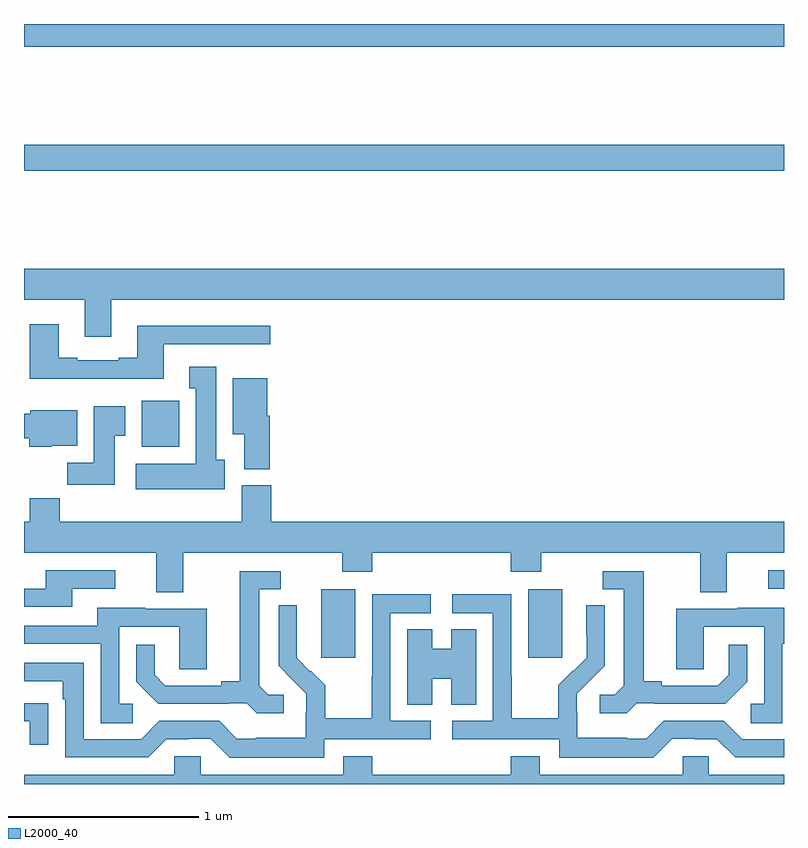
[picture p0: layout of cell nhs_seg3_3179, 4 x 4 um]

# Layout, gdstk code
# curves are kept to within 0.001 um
import gdstk
lib = gdstk.Library(unit=1e-6, precision=1e-09)
def R(c, l, rs):  # rectangles x0, y0, x1, y1
    for r in rs: c.add(gdstk.rectangle(r[:2], r[2:], *l))
def P(c, l, *ps):  # polygons
    for p in ps: c.add(gdstk.Polygon(p, *l))
L2000_40 = (2000, 40)

nhs_seg3_3179 = lib.new_cell('nhs_seg3_3179')
R(nhs_seg3_3179, L2000_40, [(278.564,667.065,278.743,667.426), (279.653,667.065,279.832,667.426), (280.917,667.428,281,667.524), (277.619,668.174,277.816,668.416), (277,669.628,281,669.764), (277,670.28,281,670.4)])
P(nhs_seg3_3179, L2000_40, [(277.459,668.948),(281,668.948),(281,669.112),(277,669.112),(277,668.948),(277.319,668.948),(277.319,668.754),(277.459,668.754)],
  [(277.735,668.715),(278.296,668.715),(278.296,668.812),(277.595,668.812),(277.595,668.644),(277.499,668.644),(277.499,668.631),(277.279,668.631),(277.279,668.644),(277.183,668.644),(277.183,668.821),(277.031,668.821),(277.031,668.534),(277.735,668.534)],
  [(278.056,668.106),(278.011,668.106),(278.011,668.596),(277.871,668.596),(277.871,668.483),(277.904,668.483),(277.904,668.086),(277.587,668.086),(277.587,667.952),(278.056,667.952)],
  [(278.294,668.339),(278.281,668.339),(278.281,668.536),(278.099,668.536),(278.099,668.24),(278.159,668.24),(278.159,668.057),(278.294,668.057)],
  [(277.477,668.233),(277.534,668.233),(277.534,668.389),(277.367,668.389),(277.367,668.092),(277.228,668.092),(277.228,667.974),(277.477,667.974)],
  [(277.146,668.18),(277.279,668.18),(277.279,668.368),(277.032,668.368),(277.032,668.35),(277,668.35),(277,668.221),(277.028,668.221),(277.028,668.174),(277.146,668.174)],
  [(277.031,667.904),(277.031,667.78),(277,667.78),(277,667.616),(277.697,667.616),(277.697,667.408),(277.837,667.408),(277.837,667.616),(278.674,667.616),(278.674,667.517),(278.834,667.517),(278.834,667.616),(279.563,667.616),(279.563,667.517),(279.723,667.517),(279.723,667.616),(280.559,667.616),(280.559,667.408),(280.699,667.408),(280.699,667.616),(281,667.616),(281,667.78),(278.3,667.78),(278.3,667.972),(278.147,667.972),(278.147,667.78),(277.187,667.78),(277.187,667.904)],
  [(277.255,667.428),(277.48,667.428),(277.48,667.524),(277.115,667.524),(277.115,667.428),(277,667.428),(277,667.332),(277.255,667.332)],
  [(280.224,666.825),(280.318,666.825),(280.318,666.822),(280.69,666.822),(280.806,666.938),(280.806,667.132),(280.709,667.132),(280.709,666.975),(280.652,666.918),(280.357,666.918),(280.357,666.941),(280.261,666.941),(280.261,667.521),(280.047,667.521),(280.047,667.425),(280.157,667.425),(280.157,666.917),(280.11,666.87),(280.029,666.87),(280.029,666.773),(280.172,666.773)],
  [(278.368,666.87),(278.286,666.87),(278.239,666.917),(278.239,667.425),(278.35,667.425),(278.35,667.521),(278.135,667.521),(278.135,666.941),(278.039,666.941),(278.039,666.918),(277.744,666.918),(277.687,666.975),(277.687,667.132),(277.59,667.132),(277.59,666.938),(277.706,666.822),(278.078,666.822),(278.078,666.825),(278.172,666.825),(278.224,666.773),(278.368,666.773)],
  [(278.58,666.636),(279.142,666.636),(279.142,666.732),(278.928,666.732),(278.928,667.299),(279.142,667.299),(279.142,667.398),(278.832,667.398),(278.832,666.968),(278.83,666.968),(278.83,666.745),(278.585,666.745),(278.585,666.919),(278.508,666.996),(278.505,666.993),(278.435,667.064),(278.436,667.34),(278.34,667.34),(278.34,667.022),(278.486,666.874),(278.486,666.777),(278.484,666.777),(278.484,666.643),(278.221,666.643),(278.221,666.639),(278.121,666.639),(278.028,666.732),(277.713,666.732),(277.617,666.636),(277.314,666.636),(277.314,667.038),(277,667.038),(277,666.942),(277.205,666.942),(277.205,666.845),(277.218,666.845),(277.218,666.54),(277.653,666.54),(277.749,666.636),(277.868,666.636),(277.868,666.639),(277.983,666.639),(278.083,666.539),(278.58,666.539)],
  [(280.413,666.639),(280.529,666.639),(280.529,666.636),(280.647,666.636),(280.743,666.54),(281,666.54),(281,666.636),(280.779,666.636),(280.683,666.732),(280.368,666.732),(280.275,666.639),(280.175,666.639),(280.175,666.643),(279.912,666.643),(279.912,666.777),(279.91,666.777),(279.91,666.874),(280.056,667.022),(280.056,667.34),(279.96,667.34),(279.96,667.186),(279.962,667.186),(279.962,667.064),(279.891,666.993),(279.888,666.996),(279.811,666.919),(279.811,666.745),(279.567,666.745),(279.567,666.968),(279.564,666.968),(279.564,667.398),(279.255,667.398),(279.255,667.299),(279.468,667.299),(279.468,666.732),(279.255,666.732),(279.255,666.636),(279.816,666.636),(279.816,666.539),(280.313,666.539)],
  [(277.573,666.822),(277.5,666.822),(277.5,667.227),(277.818,667.227),(277.818,667.003),(277.963,667.003),(277.963,667.323),(277.639,667.323),(277.639,667.327),(277.385,667.327),(277.385,667.233),(277,667.233),(277,667.137),(277.404,667.137),(277.404,666.721),(277.573,666.721)],
  [(280.992,667.137),(281,667.137),(281,667.327),(280.757,667.327),(280.757,667.323),(280.433,667.323),(280.433,667.003),(280.578,667.003),(280.578,667.227),(280.896,667.227),(280.896,666.822),(280.824,666.822),(280.824,666.721),(280.992,666.721)],
  [(279.148,666.953),(279.248,666.953),(279.248,666.817),(279.379,666.817),(279.379,667.214),(279.248,667.214),(279.248,667.111),(279.148,667.111),(279.148,667.214),(279.017,667.214),(279.017,666.817),(279.148,666.817)],
  [(277.127,666.824),(277.025,666.824),(277.025,666.825),(277,666.825),(277,666.729),(277.031,666.729),(277.031,666.606),(277.127,666.606)],
  [(281,666.448),(280.605,666.448),(280.605,666.546),(280.467,666.546),(280.467,666.448),(279.715,666.448),(279.715,666.547),(279.563,666.547),(279.563,666.448),(278.834,666.448),(278.834,666.547),(278.681,666.547),(278.681,666.448),(277.929,666.448),(277.929,666.546),(277.791,666.546),(277.791,666.448),(277,666.448),(277,666.4),(281,666.4)])

lib.write_gds('nhs_seg3_3179.gds')
